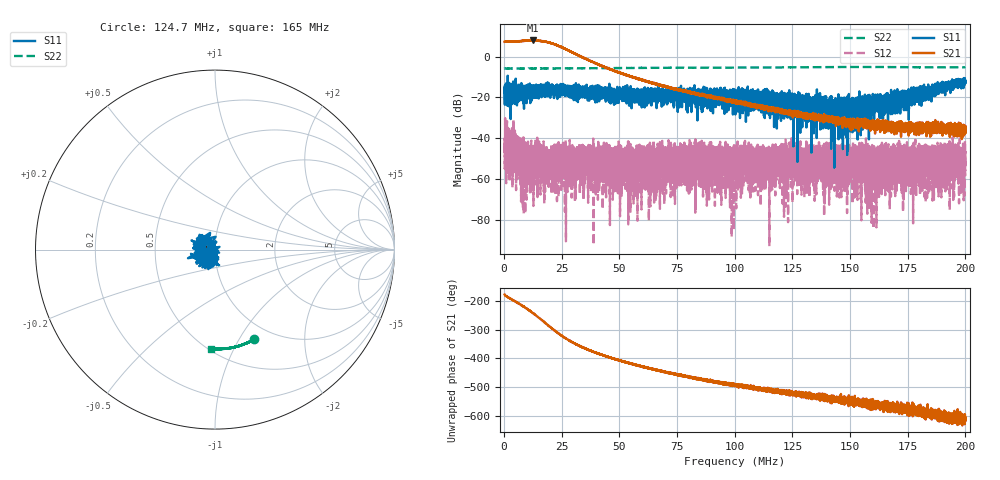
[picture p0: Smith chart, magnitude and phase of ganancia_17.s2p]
# Hz S DB R 50
! CMT, M5065, 19127446, 24.2.4/2
! Date: 11/8/2024 3:55:11 PM
! Data: Format (Calibration Info)
! Freq	S11:dB/Ang(F2)	S21:dB/Ang(F2)	S12:dB/Ang(F2)	S22:dB/Ang(F2)
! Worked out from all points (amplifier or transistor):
!   9000 points, 300 kHz to 200 MHz, reference 50 ohm
!   highest |S21| = 7.8 dB at 12.51 MHz (marker M1)
!   |S21| within 3 dB of that: start of sweep to 24.42 MHz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
!   unconditionally stable (mu >= 1): start of sweep to end of sweep
!   at 33.59 MHz: K = 105.20, MAG = 1.3 dB, |S12| = -49.3 dB
!   at 100.2 MHz: K = 1067.75, MAG = -21.2 dB, |S12| = -46.9 dB
!   at 200 MHz: K = 10713.99, MAG = -32.5 dB, |S12| = -55.9 dB
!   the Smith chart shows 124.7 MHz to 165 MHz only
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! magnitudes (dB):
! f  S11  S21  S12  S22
! 300 kHz  -17.7  7.2  -47.1  -5.9
! 4.183 MHz  -16.5  7.3  -55.9  -5.9
! 8.977 MHz  -16.3  7.7  -48.4  -5.8
! 12.51 MHz  -16.7  7.8  -45.8  -5.8
! 33.59 MHz  -16.1  -0.1  -49.3  -5.7
! 66.87 MHz  -19.6  -13.8  -54.8  -5.5
! 71.51 MHz  -16.8  -15.2  -50.2  -5.5
! 73.53 MHz  -18.0  -15.8  -57.8  -5.5
! 76.64 MHz  -15.7  -16.2  -49.3  -5.5
! 82.14 MHz  -18.0  -18.0  -62.7  -5.5
! 84.03 MHz  -19.9  -18.5  -56.5  -5.5
! 93.46 MHz  -19.4  -20.4  -56.8  -5.5
! 95.72 MHz  -20.1  -20.8  -47.0  -5.4
! 98.16 MHz  -18.5  -21.1  -44.4  -5.4
! 100.2 MHz  -17.6  -22.7  -46.9  -5.4
! 133.4 MHz  -21.6  -29.7  -52.0  -5.2
! 154.9 MHz  -32.6  -32.3  -46.6  -5.1
! 157.1 MHz  -24.7  -32.2  -45.4  -5.1
! 166.7 MHz  -21.4  -31.9  -48.7  -5.2
! 192.2 MHz  -14.8  -36.2  -52.7  -5.3
! 198.8 MHz  -14.0  -34.6  -46.7  -5.3
! 200 MHz  -12.7  -34.2  -55.9  -5.3
